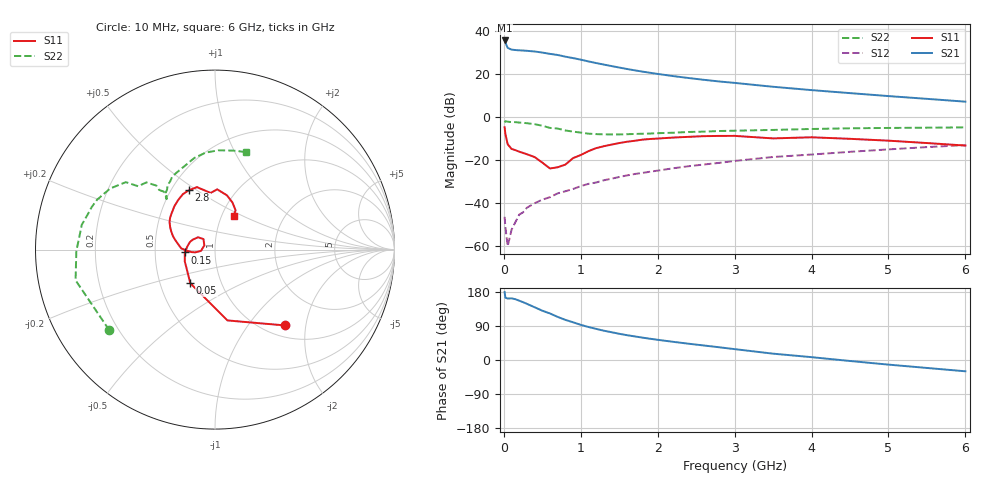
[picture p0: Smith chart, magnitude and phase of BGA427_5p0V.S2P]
! Infineon Technologies  Discrete & RF Semiconductors
! BGA427
! Si NPN RF SIEGET Grounded Emitter Transistor in SOT343
! VCE =  IC =
! Common Emitter S-Parameters:  November  1999
# GHz  S  MA  R  50
!  f  S11  S21  S12  S22
! GHz  MAG  ANG  MAG  ANG  MAG  ANG  MAG  ANG
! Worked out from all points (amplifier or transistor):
!   36 points, 10 MHz to 6 GHz, reference 50 ohm
!   highest |S21| = 35.5 dB at 10 MHz (marker M1)
!   |S21| within 3 dB of that: start of sweep to 44.78 MHz
!   unconditionally stable (mu >= 1): 24.16 MHz to 341.7 MHz; 517.6 MHz to 2.38 GHz
!   at 250 MHz: K = 1.21, MAG = 34.8 dB, |S12| = -44.3 dB
!   at 1.4 GHz: K = 1.07, MAG = 24.5 dB, |S12| = -28.7 dB
!   at 6 GHz: K = 0.95, MSG = 10.1 dB, |S12| = -13.1 dB
!   S11 on the Smith chart (normalised r, x): 10 MHz: 1.22, -1.53; 50 MHz: 0.71, -0.28; 150 MHz: 0.71, -0.02; 2.8 GHz: 0.61, +0.47; 6 GHz: 1.14, +0.45
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0.01  0.575 -47.3  59.28 179.4  0.0048 -14.0  0.7407 -142.7
0.02  0.4005 -80.1  53.19 164.2  0.0028 -30.4  0.7954 -167.6
0.05  0.2323 -126.3  39.92 162.3  0.001 11.8  0.7726 -179.4
0.1  0.1805 -159.0  36.35 162.6  0.0024 64.1  0.7577 173.5
0.15  0.169 -174.7  35.53 160.4  0.0036 73.7  0.7551 169.5
0.3  0.1359 156.0  34.1 148.2  0.0078 79.2  0.7135 157.1
0.4  0.1168 144.0  32.87 139.2  0.0099 79.3  0.6763 149.8
0.5  0.0869 137.6  31.06 130.1  0.012 81.9  0.623 142.9
0.7  0.0678 170.1  27.28 113.7  0.0168 83.8  0.5351 135.6
0.8  0.0781 -174.7  24.94 105.9  0.0188 84.8  0.4836 132.5
0.9  0.1106 -172.0  23.09 99.5  0.0212 88.2  0.4551 133.1
1  0.1304 -173.8  21.25 92.8  0.0247 88.5  0.4313 131.5
1.1  0.1601 -178.3  19.35 87.1  0.0279 88.8  0.408 131.6
1.3  0.2084 171.3  16.34 77.3  0.0338 88.5  0.3929 133.2
1.5  0.2469 162.0  13.94 69.2  0.0403 88.3  0.3913 133.5
1.8  0.2961 148.8  11.23 59.1  0.05 86.1  0.4066 132.6
2.2  0.331 133.2  8.839 48.0  0.0642 83.2  0.4287 128.5
2.8  0.3614 113.6  6.629 33.6  0.0857 79.1  0.4696 120.7
3.5  0.3166 94.4  4.992 16.7  0.1172 70.6  0.4978 109.2
4.5  0.3095 77.6  3.557 -2.6  0.1545 61.7  0.543 95.5
5.5  0.2469 62.3  2.619 -21.0  0.1988 50.5  0.5609 79.6
6  0.2159 61.2  2.253 -29.8  0.2217 43.8  0.5704 72.3
